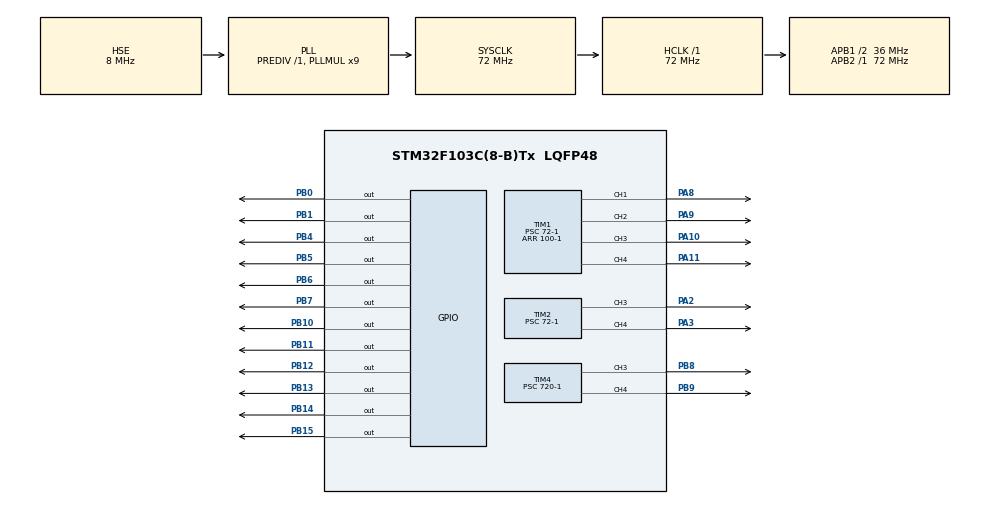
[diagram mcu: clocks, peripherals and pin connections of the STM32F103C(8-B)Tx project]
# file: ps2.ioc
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Mcu.Family=STM32F1
Mcu.Name=STM32F103C(8-B)Tx
Mcu.Package=LQFP48
NVIC.PriorityGroup=NVIC_PRIORITYGROUP_4
PA10.Signal=S_TIM1_CH3
PA11.Signal=S_TIM1_CH4
PA13.Mode=Serial_Wire
PA13.Signal=SYS_JTMS-SWDIO
PA14.Mode=Serial_Wire
PA14.Signal=SYS_JTCK-SWCLK
PA2.Signal=S_TIM2_CH3
PA3.Signal=S_TIM2_CH4
PA8.Signal=S_TIM1_CH1
PA9.Signal=S_TIM1_CH2
PB0.Signal=GPIO_Output
PB1.Signal=GPIO_Output
PB10.Signal=GPIO_Output
PB11.Signal=GPIO_Output
PB12.Signal=GPIO_Output
PB13.Signal=GPIO_Output
PB14.Signal=GPIO_Output
PB15.Signal=GPIO_Output
PB4.Signal=GPIO_Output
PB5.Signal=GPIO_Output
PB6.Signal=GPIO_Output
PB7.Signal=GPIO_Output
PB8.Signal=S_TIM4_CH3
PB9.Signal=S_TIM4_CH4
PD0-OSC_IN.Mode=HSE-External-Oscillator
PD0-OSC_IN.Signal=RCC_OSC_IN
PD1-OSC_OUT.Mode=HSE-External-Oscillator
PD1-OSC_OUT.Signal=RCC_OSC_OUT
ProjectManager.HeapSize=0x200
ProjectManager.StackSize=0x400
ProjectManager.TargetToolchain=STM32CubeIDE
RCC.AHBFreq_Value=72000000
RCC.APB1CLKDivider=RCC_HCLK_DIV2
RCC.APB1Freq_Value=36000000
RCC.APB1TimFreq_Value=72000000
RCC.APB2Freq_Value=72000000
RCC.APB2TimFreq_Value=72000000
RCC.HCLKFreq_Value=72000000
RCC.PLLMUL=RCC_PLL_MUL9
RCC.PLLSourceVirtual=RCC_PLLSOURCE_HSE
RCC.SYSCLKFreq_VALUE=72000000
RCC.SYSCLKSource=RCC_SYSCLKSOURCE_PLLCLK
RCC.USBFreq_Value=72000000
SH.S_TIM1_CH1.0=TIM1_CH1,PWM Generation1 CH1
SH.S_TIM1_CH2.0=TIM1_CH2,PWM Generation2 CH2
SH.S_TIM1_CH3.0=TIM1_CH3,PWM Generation3 CH3
SH.S_TIM1_CH4.0=TIM1_CH4,PWM Generation4 CH4
SH.S_TIM2_CH3.0=TIM2_CH3,PWM Generation3 CH3
SH.S_TIM2_CH4.0=TIM2_CH4,PWM Generation4 CH4
SH.S_TIM4_CH3.0=TIM4_CH3,PWM Generation3 CH3
SH.S_TIM4_CH4.0=TIM4_CH4,PWM Generation4 CH4
TIM1.Channel-PWM\ Generation1\ CH1=TIM_CHANNEL_1
TIM1.Channel-PWM\ Generation2\ CH2=TIM_CHANNEL_2
TIM1.Channel-PWM\ Generation3\ CH3=TIM_CHANNEL_3
TIM1.Channel-PWM\ Generation4\ CH4=TIM_CHANNEL_4
TIM1.Period=100-1
TIM1.Prescaler=72-1
TIM1.Pulse-PWM\ Generation1\ CH1=0
TIM2.Channel-PWM\ Generation3\ CH3=TIM_CHANNEL_3
TIM2.Channel-PWM\ Generation4\ CH4=TIM_CHANNEL_4
TIM2.Period=100-1
TIM2.Prescaler=72-1
TIM4.AutoReloadPreload=TIM_AUTORELOAD_PRELOAD_ENABLE
TIM4.Channel-PWM\ Generation3\ CH3=TIM_CHANNEL_3
TIM4.Channel-PWM\ Generation4\ CH4=TIM_CHANNEL_4
TIM4.Period=2000-1
TIM4.Prescaler=720-1
TIM4.Pulse-PWM\ Generation3\ CH3=150
TIM4.Pulse-PWM\ Generation4\ CH4=150
VP_TIM1_VS_ClockSourceINT.Mode=Internal
VP_TIM2_VS_ClockSourceINT.Mode=Internal
VP_TIM4_VS_ClockSourceINT.Mode=Internal
board=custom

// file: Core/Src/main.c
/* USER CODE BEGIN Header */
/* USER CODE END Header */
#include "main.h"
#include "tim.h"
#include "gpio.h"

/* USER CODE BEGIN Includes */
#include "ax_ps2.h"
#include "motor.h"
/* USER CODE END Includes */

void SystemClock_Config(void);

/* USER CODE BEGIN 0 */

JOYSTICK_TypeDef ps2;	// 创建一个全局结构体用于存储手柄数据

/* USER CODE END 0 */

int main(void)
{

  /* MCU Configuration--------------------------------------------------------*/

  /* Reset of all peripherals, Initializes the Flash interface and the Systick. */
  HAL_Init();

  /* USER CODE BEGIN Init */
  AX_PS2_Init();		// 初始化 PS2 手柄通信
  MOTOR_Init();			// 初始化 马达 模块
  /* USER CODE END Init */

  /* Configure the system clock */
  SystemClock_Config();

  /* Initialize all configured peripherals */
  MX_GPIO_Init();
  MX_TIM1_Init();
  MX_TIM4_Init();
  MX_TIM2_Init();
  /* USER CODE BEGIN 2 */
  HAL_TIM_PWM_Start(&htim2, TIM_CHANNEL_3);  // 启动马达1 PWM
  HAL_TIM_PWM_Start(&htim2, TIM_CHANNEL_4);  // 启动马达2 PWM
  __HAL_TIM_SET_COMPARE(&htim2, TIM_CHANNEL_3, 0);
  __HAL_TIM_SET_COMPARE(&htim2, TIM_CHANNEL_4, 0);

  HAL_TIM_PWM_Start(&htim4, TIM_CHANNEL_3);  // 启动舵机1 PWM
  HAL_TIM_PWM_Start(&htim4, TIM_CHANNEL_4);  // 启动舵机2 PWM
  __HAL_TIM_SET_COMPARE(&htim4, TIM_CHANNEL_3, 50);
  __HAL_TIM_SET_COMPARE(&htim4, TIM_CHANNEL_4, 115);
  /* USER CODE END 2 */

  /* Infinite loop */
  /* USER CODE BEGIN WHILE */
  while (1)
  {
	  AX_PS2_ScanKey(&ps2);				// 扫描 PS2 手柄状态

	  MOTOR_ControlWithPS2(&ps2);  		// 数字模式时使用按键控制

	  HAL_Delay(10);					// 延时 10ms，防止频繁读取
    /* USER CODE END WHILE */

  }
}

void SystemClock_Config(void)
{
  RCC_OscInitTypeDef RCC_OscInitStruct = {0};
  RCC_ClkInitTypeDef RCC_ClkInitStruct = {0};

  /** Initializes the RCC Oscillators according to the specified parameters
  * in the RCC_OscInitTypeDef structure.
  */
  RCC_OscInitStruct.OscillatorType = RCC_OSCILLATORTYPE_HSE;
  RCC_OscInitStruct.HSEState = RCC_HSE_ON;
  RCC_OscInitStruct.HSEPredivValue = RCC_HSE_PREDIV_DIV1;
  RCC_OscInitStruct.HSIState = RCC_HSI_ON;
  RCC_OscInitStruct.PLL.PLLState = RCC_PLL_ON;
  RCC_OscInitStruct.PLL.PLLSource = RCC_PLLSOURCE_HSE;
  RCC_OscInitStruct.PLL.PLLMUL = RCC_PLL_MUL9;
  if (HAL_RCC_OscConfig(&RCC_OscInitStruct) != HAL_OK)
  {
    Error_Handler();
  }

  /** Initializes the CPU, AHB and APB buses clocks
  */
  RCC_ClkInitStruct.ClockType = RCC_CLOCKTYPE_HCLK|RCC_CLOCKTYPE_SYSCLK
                              |RCC_CLOCKTYPE_PCLK1|RCC_CLOCKTYPE_PCLK2;
  RCC_ClkInitStruct.SYSCLKSource = RCC_SYSCLKSOURCE_PLLCLK;
  RCC_ClkInitStruct.AHBCLKDivider = RCC_SYSCLK_DIV1;
  RCC_ClkInitStruct.APB1CLKDivider = RCC_HCLK_DIV2;
  RCC_ClkInitStruct.APB2CLKDivider = RCC_HCLK_DIV1;

  if (HAL_RCC_ClockConfig(&RCC_ClkInitStruct, FLASH_LATENCY_2) != HAL_OK)
  {
    Error_Handler();
  }
}

void Error_Handler(void)
{
}
